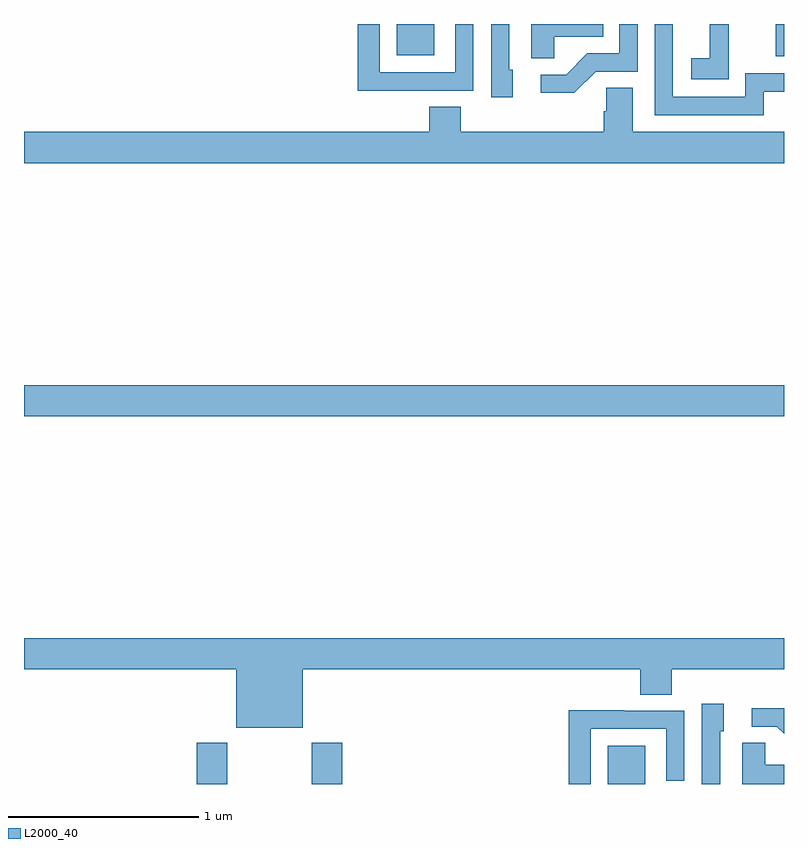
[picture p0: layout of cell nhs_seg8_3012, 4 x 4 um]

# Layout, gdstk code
import gdstk
lib = gdstk.Library(unit=1e-6, precision=1e-09)
def R(c, l, rs):  # rectangles x0, y0, x1, y1
    for r in rs: c.add(gdstk.rectangle(r[:2], r[2:], *l))
def P(c, l, *ps):  # polygons
    for p in ps: c.add(gdstk.Polygon(p, *l))
L2000_40 = (2000, 40)

nhs_seg8_3012 = lib.new_cell('nhs_seg8_3012')
R(nhs_seg8_3012, L2000_40, [(299.909,1111.9,300.069,1112.116), (300.514,1111.9,300.674,1112.116), (302.072,1111.9,302.269,1112.101), (299,1113.836,303,1114), (302.956,1115.73,303,1115.9), (300.962,1115.735,301.159,1115.9)])
P(nhs_seg8_3012, L2000_40, [(301.049,1115.55),(301.365,1115.55),(301.365,1115.9),(301.269,1115.9),(301.269,1115.646),(300.873,1115.646),(300.873,1115.9),(300.757,1115.9),(300.757,1115.549),(301.049,1115.549)],
  [(301.791,1115.834),(302.048,1115.834),(302.048,1115.9),(301.67,1115.9),(301.67,1115.719),(301.791,1115.719)],
  [(302.01,1115.649),(302.229,1115.649),(302.229,1115.9),(302.133,1115.9),(302.133,1115.745),(301.964,1115.745),(301.853,1115.634),(301.719,1115.634),(301.719,1115.537),(301.897,1115.537)],
  [(301.573,1115.658),(301.554,1115.658),(301.554,1115.9),(301.458,1115.9),(301.458,1115.514),(301.573,1115.514)],
  [(302.893,1115.544),(303,1115.544),(303,1115.64),(302.796,1115.64),(302.796,1115.517),(302.415,1115.517),(302.415,1115.9),(302.319,1115.9),(302.319,1115.421),(302.893,1115.421)],
  [(302.709,1115.815),(302.708,1115.815),(302.708,1115.9),(302.609,1115.9),(302.609,1115.719),(302.511,1115.719),(302.511,1115.609),(302.709,1115.609)],
  [(303,1115.332),(302.203,1115.332),(302.203,1115.564),(302.064,1115.564),(302.064,1115.441),(302.051,1115.441),(302.051,1115.332),(301.298,1115.332),(301.298,1115.465),(301.133,1115.465),(301.133,1115.332),(299,1115.332),(299,1115.168),(303,1115.168)],
  [(300.466,1112.504),(302.243,1112.504),(302.243,1112.371),(302.408,1112.371),(302.408,1112.504),(303,1112.504),(303,1112.668),(299,1112.668),(299,1112.504),(300.116,1112.504),(300.116,1112.195),(300.466,1112.195)],
  [(302.664,1112.178),(302.683,1112.178),(302.683,1112.323),(302.568,1112.323),(302.568,1111.9),(302.664,1111.9)],
  [(303,1112.3),(302.829,1112.3),(302.829,1112.202),(302.963,1112.202),(303,1112.165)],
  [(301.983,1112.19),(302.379,1112.19),(302.379,1111.917),(302.475,1111.917),(302.475,1112.286),(302.159,1112.286),(302.159,1112.288),(301.867,1112.288),(301.867,1111.9),(301.983,1111.9)],
  [(303,1112.002),(302.901,1112.002),(302.901,1112.117),(302.78,1112.117),(302.78,1111.9),(303,1111.9)])

lib.write_gds('nhs_seg8_3012.gds')
